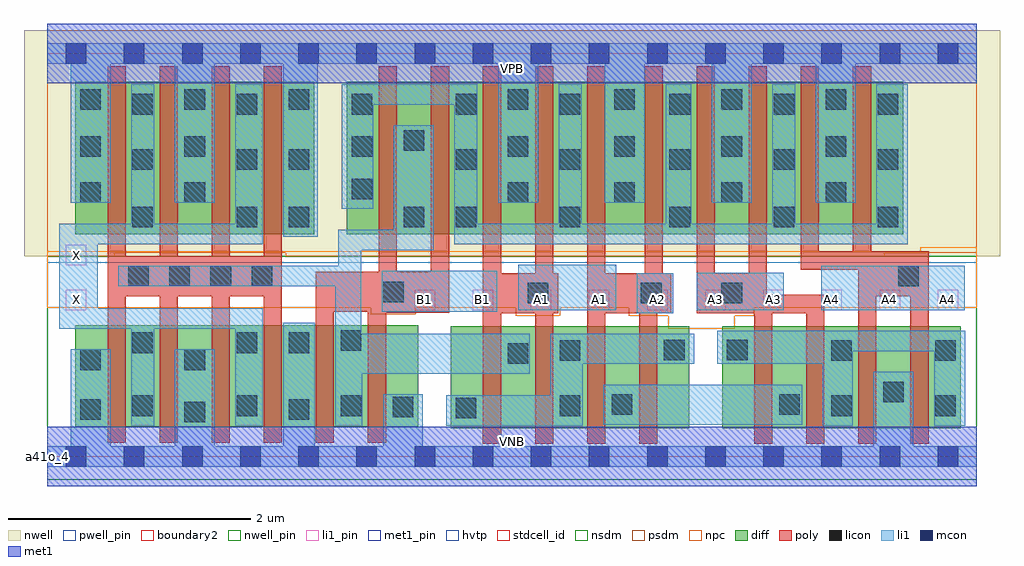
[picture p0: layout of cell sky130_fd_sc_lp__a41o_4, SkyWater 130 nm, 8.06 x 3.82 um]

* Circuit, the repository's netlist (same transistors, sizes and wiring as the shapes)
* Copyright 2020 The SkyWater PDK Authors
*
* Licensed under the Apache License, Version 2.0 (the "License");
* you may not use this file except in compliance with the License.
* You may obtain a copy of the License at
*
*     https://www.apache.org/licenses/LICENSE-2.0
*
* Unless required by applicable law or agreed to in writing, software
* distributed under the License is distributed on an "AS IS" BASIS,
* WITHOUT WARRANTIES OR CONDITIONS OF ANY KIND, either express or implied.
* See the License for the specific language governing permissions and
* limitations under the License.
*
* SPDX-License-Identifier: Apache-2.0

.SUBCKT sky130_fd_sc_lp__a41o_4 A1 A2 A3 A4 B1 VGND VNB VPB VPWR X
*.PININFO A1:I A2:I A3:I A4:I B1:I VGND:I VNB:I VPB:I VPWR:I X:O
MMPA0 pndA A1 VPWR VPB sky130_fd_pr__pfet_01v8_hvt m=2 w=1.26U l=0.15U mult=1 sa=0.265
+ sb=0.265 sd=0.28 area=0.063 perim=1.14
MMPA1 pndA A2 VPWR VPB sky130_fd_pr__pfet_01v8_hvt m=2 w=1.26U l=0.15U mult=1 sa=0.265
+ sb=0.265 sd=0.28 area=0.063 perim=1.14
MMPA2 pndA A3 VPWR VPB sky130_fd_pr__pfet_01v8_hvt m=2 w=1.26U l=0.15U mult=1 sa=0.265
+ sb=0.265 sd=0.28 area=0.063 perim=1.14
MMPA3 pndA A4 VPWR VPB sky130_fd_pr__pfet_01v8_hvt m=2 w=1.26U l=0.15U mult=1 sa=0.265
+ sb=0.265 sd=0.28 area=0.063 perim=1.14
MMPB0 y B1 pndA VPB sky130_fd_pr__pfet_01v8_hvt m=2 w=1.26U l=0.15U mult=1 sa=0.265
+ sb=0.265 sd=0.28 area=0.063 perim=1.14
MMIPX X y VPWR VPB sky130_fd_pr__pfet_01v8_hvt m=4 w=1.26U l=0.15U mult=1 sa=0.265
+ sb=0.265 sd=0.28 area=0.063 perim=1.14
MMNA0 y A1 sndA1 VNB sky130_fd_pr__nfet_01v8 m=2 w=0.84U l=0.15U mult=1 sa=0.265
+ sb=0.265 sd=0.28 area=0.063 perim=1.14
MMNA1 sndA1 A2 sndA2 VNB sky130_fd_pr__nfet_01v8 m=2 w=0.84U l=0.15U mult=1 sa=0.265
+ sb=0.265 sd=0.28 area=0.063 perim=1.14
MMNA2 sndA2 A3 sndA3 VNB sky130_fd_pr__nfet_01v8 m=2 w=0.84U l=0.15U mult=1 sa=0.265
+ sb=0.265 sd=0.28 area=0.063 perim=1.14
MMNA3 sndA3 A4 VGND VNB sky130_fd_pr__nfet_01v8 m=2 w=0.84U l=0.15U mult=1 sa=0.265
+ sb=0.265 sd=0.28 area=0.063 perim=1.14
MMNB0 y B1 VGND VNB sky130_fd_pr__nfet_01v8 m=2 w=0.84U l=0.15U mult=1 sa=0.265
+ sb=0.265 sd=0.28 area=0.063 perim=1.14
MMINX X y VGND VNB sky130_fd_pr__nfet_01v8 m=4 w=0.84U l=0.15U mult=1 sa=0.265
+ sb=0.265 sd=0.28 area=0.063 perim=1.14
.ENDS sky130_fd_sc_lp__a41o_4

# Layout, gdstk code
import gdstk
lib = gdstk.Library(unit=1e-6, precision=1e-09)
def R(c, l, rs):  # rectangles x0, y0, x1, y1
    for r in rs: c.add(gdstk.rectangle(r[:2], r[2:], *l))
def A(c, l, x, y, w, h, nx, ny, dx, dy):  # array of equal rectangles
    R(c, l, [(x+i*dx, y+j*dy, x+i*dx+w, y+j*dy+h) for i in range(nx) for j in range(ny)])
def P(c, l, *ps):  # polygons
    for p in ps: c.add(gdstk.Polygon(p, *l))
nwell_pin = (64, 16)
nwell = (64, 20)
diff = (65, 20)
poly = (66, 20)
licon = (66, 44)
li1_pin = (67, 16)
li1 = (67, 20)
mcon = (67, 44)
met1_pin = (68, 16)
met1 = (68, 20)
hvtp = (78, 44)
stdcell_id = (81, 4)
nsdm = (93, 44)
psdm = (94, 20)
npc = (95, 20)
pwell_pin = (122, 16)
boundary2 = (236, 0)

sky130_fd_sc_lp__a41o_4 = lib.new_cell('sky130_fd_sc_lp__a41o_4')
R(sky130_fd_sc_lp__a41o_4, nwell_pin, [(0,3.085,7.68,3.33)])
R(sky130_fd_sc_lp__a41o_4, nwell, [(-0.19,1.655,7.87,3.52)])
R(sky130_fd_sc_lp__a41o_4, diff, [(3.335,0.235,5.305,1.075), (5.575,0.235,7.545,1.075), (0.235,0.245,3.065,1.085), (0.235,1.835,2.205,3.095), (2.475,1.835,7.07,3.095)])
P(sky130_fd_sc_lp__a41o_4, poly, [(1.94,3.225),(1.79,3.225),(1.79,1.655),(1.51,1.655),(1.51,3.225),(1.36,3.225),(1.36,1.655),(1.08,1.655),(1.08,3.225),(0.93,3.225),(0.93,1.655),(0.65,1.655),(0.65,3.225),(0.5,3.225),(0.5,0.115),(0.65,0.115),(0.65,1.325),(0.93,1.325),(0.93,0.115),(1.08,0.115),(1.08,1.325),(1.36,1.325),(1.36,0.115),(1.51,0.115),(1.51,1.325),(1.79,1.325),(1.79,0.115),(1.94,0.115)],
  [(7.28,1.695),(6.805,1.695),(6.805,3.225),(6.655,3.225),(6.655,1.695),(6.375,1.695),(6.375,3.225),(6.225,3.225),(6.225,1.545),(6.7,1.545),(6.7,0.105),(6.85,0.105),(6.85,1.325),(7.13,1.325),(7.13,0.105),(7.28,0.105)],
  [(3.32,3.225),(3.17,3.225),(3.17,1.525),(2.89,1.525),(2.89,3.225),(2.74,3.225),(2.74,1.525),(2.22,1.525),(2.22,0.115),(2.37,0.115),(2.37,1.195),(2.65,1.195),(2.65,0.115),(2.8,0.115),(2.8,1.19),(3.32,1.19)],
  [(6.42,1.335),(5.945,1.335),(5.945,3.225),(5.795,3.225),(5.795,1.515),(5.515,1.515),(5.515,3.225),(5.365,3.225),(5.365,1.185),(5.84,1.185),(5.84,0.105),(5.99,0.105),(5.99,1.185),(6.27,1.185),(6.27,0.105),(6.42,0.105)],
  [(4.22,1.515),(4.18,1.515),(4.18,3.225),(4.03,3.225),(4.03,1.515),(3.75,1.515),(3.75,3.225),(3.6,3.225),(3.6,0.105),(3.75,0.105),(3.75,1.185),(4.03,1.185),(4.03,0.105),(4.18,0.105),(4.18,1.185),(4.22,1.185)],
  [(5.155,1.515),(5.085,1.515),(5.085,3.225),(4.935,3.225),(4.935,1.515),(4.61,1.515),(4.61,3.225),(4.46,3.225),(4.46,0.105),(4.61,0.105),(4.61,1.185),(4.89,1.185),(4.89,0.105),(5.04,0.105),(5.04,1.185),(5.155,1.185)])
A(sky130_fd_sc_lp__a41o_4, licon, 0.705, 0.335, 0.17, 0.17, 3, 1, 0.86, 0)
A(sky130_fd_sc_lp__a41o_4, licon, 0.67, 1.405, 0.17, 0.17, 4, 1, 0.34, 0)
A(sky130_fd_sc_lp__a41o_4, licon, 5.14, 1.895, 0.17, 0.17, 3, 2, 0.86, 0.475)
A(sky130_fd_sc_lp__a41o_4, licon, 2.515, 2.825, 0.17, 0.17, 3, 1, 0.86, 0)
A(sky130_fd_sc_lp__a41o_4, licon, 5.14, 2.825, 0.17, 0.17, 3, 1, 0.86, 0)
A(sky130_fd_sc_lp__a41o_4, licon, 0.275, 2.865, 0.17, 0.17, 3, 1, 0.86, 0)
R(sky130_fd_sc_lp__a41o_4, licon, [(1.135,0.285,1.305,0.455), (0.275,0.305,0.445,0.475), (1.995,0.305,2.165,0.475), (3.375,0.315,3.545,0.485), (2.855,0.325,3.025,0.495), (4.235,0.335,4.405,0.505), (6.475,0.335,6.645,0.505), (7.335,0.335,7.505,0.505), (4.665,0.345,4.835,0.515), (6.045,0.345,6.215,0.515), (6.905,0.45,7.075,0.62), (0.275,0.715,0.445,0.885), (1.135,0.715,1.305,0.885), (3.805,0.765,3.975,0.935), (4.235,0.79,4.405,0.96), (6.475,0.79,6.645,0.96), (7.335,0.79,7.505,0.96), (5.095,0.795,5.265,0.965), (5.615,0.795,5.785,0.965), (0.705,0.855,0.875,1.025), (1.565,0.855,1.735,1.025), (1.995,0.855,2.165,1.025), (2.425,0.875,2.595,1.045), (3.97,1.265,4.14,1.435), (4.905,1.265,5.075,1.435), (5.57,1.265,5.74,1.435), (2.775,1.275,2.945,1.445), (7.03,1.405,7.2,1.575), (0.705,1.895,0.875,2.065), (1.565,1.895,1.735,2.065), (1.995,1.895,2.165,2.065), (2.945,1.895,3.115,2.065), (3.375,1.895,3.545,2.065), (4.235,1.895,4.405,2.065), (0.275,2.095,0.445,2.265), (1.135,2.095,1.305,2.265), (3.805,2.095,3.975,2.265), (4.685,2.095,4.855,2.265), (5.57,2.095,5.74,2.265), (6.43,2.095,6.6,2.265), (2.515,2.125,2.685,2.295), (0.705,2.37,0.875,2.54), (1.565,2.37,1.735,2.54), (1.995,2.37,2.165,2.54), (3.375,2.37,3.545,2.54), (4.235,2.37,4.405,2.54), (0.275,2.475,0.445,2.645), (1.135,2.475,1.305,2.645), (2.515,2.475,2.685,2.645), (3.805,2.475,3.975,2.645), (4.685,2.475,4.855,2.645), (5.57,2.475,5.74,2.645), (6.43,2.475,6.6,2.645), (2.945,2.525,3.115,2.695), (0.705,2.825,0.875,2.995), (1.565,2.825,1.735,2.995), (3.805,2.865,3.975,3.035), (4.685,2.865,4.855,3.035), (5.57,2.865,5.74,3.035), (6.43,2.865,6.6,3.035)])
A(sky130_fd_sc_lp__a41o_4, li1_pin, 3.035, 1.21, 0.17, 0.17, 10, 1, 0.48, 0)
R(sky130_fd_sc_lp__a41o_4, li1_pin, [(0.155,1.21,0.325,1.38), (0.155,1.58,0.325,1.75)])
R(sky130_fd_sc_lp__a41o_4, li1, [(4.595,0.265,6.235,0.595), (4.87,1.185,5.17,1.515), (2.765,1.195,3.72,1.535), (3.89,1.21,4.7,1.585), (5.365,1.21,6.085,1.52), (6.395,1.21,7.58,1.575)])
P(sky130_fd_sc_lp__a41o_4, li1, [(1.78,1.225),(0.42,1.225),(0.42,1.755),(1.78,1.755),(1.78,3.075),(1.555,3.075),(1.555,1.925),(0.885,1.925),(0.885,3.075),(0.695,3.075),(0.695,1.925),(0.1,1.925),(0.1,1.055),(0.695,1.055),(0.695,0.255),(0.885,0.255),(0.885,1.055),(1.555,1.055),(1.555,0.255),(1.78,0.255)],
  [(3.985,1.015),(2.595,1.015),(2.595,1.705),(3.195,1.705),(3.195,2.735),(2.865,2.735),(2.865,1.875),(2.405,1.875),(2.405,1.575),(0.59,1.575),(0.59,1.405),(2.38,1.405),(2.38,0.255),(2.605,0.255),(2.605,0.685),(3.985,0.685)],
  [(7.68,3.415),(0,3.415),(0,3.245),(0.195,3.245),(0.195,2.095),(0.525,2.095),(0.525,3.245),(1.055,3.245),(1.055,2.095),(1.385,2.095),(1.385,3.245),(1.95,3.245),(1.95,1.815),(2.235,1.815),(2.235,3.245),(3.725,3.245),(3.725,2.095),(4.055,2.095),(4.055,3.245),(4.605,3.245),(4.605,2.095),(4.935,2.095),(4.935,3.245),(5.49,3.245),(5.49,2.095),(5.82,2.095),(5.82,3.245),(6.35,3.245),(6.35,2.095),(6.68,2.095),(6.68,3.245),(7.68,3.245)],
  [(7.585,1.04),(5.535,1.04),(5.535,0.765),(6.405,0.765),(6.405,0.255),(6.655,0.255),(6.655,0.87),(7.325,0.87),(7.325,0.255),(7.585,0.255)],
  [(7.68,0.085),(7.155,0.085),(7.155,0.7),(6.825,0.7),(6.825,0.085),(3.105,0.085),(3.105,0.515),(2.775,0.515),(2.775,0.085),(2.21,0.085),(2.21,1.105),(1.95,1.105),(1.95,0.085),(1.385,0.085),(1.385,0.885),(1.055,0.885),(1.055,0.085),(0.525,0.085),(0.525,0.885),(0.195,0.885),(0.195,0.085),(0,0.085),(0,-0.085),(7.68,-0.085)],
  [(5.345,1.015),(4.155,1.015),(4.155,0.505),(3.295,0.505),(3.295,0.255),(4.425,0.255),(4.425,0.765),(5.345,0.765)],
  [(7.11,3.075),(6.85,3.075),(6.85,1.925),(6.18,1.925),(6.18,3.075),(5.99,3.075),(5.99,1.925),(5.32,1.925),(5.32,3.075),(5.11,3.075),(5.11,1.925),(4.415,1.925),(4.415,3.075),(4.225,3.075),(4.225,1.925),(3.555,1.925),(3.555,3.075),(2.435,3.075),(2.435,2.045),(2.695,2.045),(2.695,2.905),(3.365,2.905),(3.365,1.755),(7.11,1.755)])
A(sky130_fd_sc_lp__a41o_4, mcon, 0.155, -0.085, 0.17, 0.17, 16, 2, 0.48, 3.33)
R(sky130_fd_sc_lp__a41o_4, met1_pin, [(0,0,7.68,0.245), (0,3.085,7.68,3.33)])
R(sky130_fd_sc_lp__a41o_4, met1, [(0,-0.245,7.68,0.245), (0,3.085,7.68,3.575)])
R(sky130_fd_sc_lp__a41o_4, hvtp, [(0,1.6,7.68,3.33)])
R(sky130_fd_sc_lp__a41o_4, stdcell_id, [(0,0,7.68,3.33)])
R(sky130_fd_sc_lp__a41o_4, nsdm, [(0,-0.19,7.68,1.655)])
P(sky130_fd_sc_lp__a41o_4, psdm, [(7.68,3.52),(0,3.52),(0,1.655),(0.56,1.655),(0.56,1.685),(1.97,1.685),(1.97,1.655),(6.92,1.655),(6.92,1.685),(7.68,1.685)])
P(sky130_fd_sc_lp__a41o_4, npc, [(7.68,1.73),(7.21,1.73),(7.21,1.695),(0,1.695),(0,1.23),(2.675,1.23),(2.675,1.175),(3.045,1.175),(3.045,1.23),(3.87,1.23),(3.87,1.165),(4.24,1.165),(4.24,1.23),(4.805,1.23),(4.805,1.165),(5.13,1.165),(5.13,1.055),(5.68,1.055),(5.68,1.165),(5.84,1.165),(5.84,1.23),(7.68,1.23)])
R(sky130_fd_sc_lp__a41o_4, pwell_pin, [(0,0,7.68,0.245)])
R(sky130_fd_sc_lp__a41o_4, boundary2, [(0,0,7.68,3.33)])
sky130_fd_sc_lp__a41o_4.add(gdstk.Label('VNB', (3.84,0.123), layer=64, texttype=59))
sky130_fd_sc_lp__a41o_4.add(gdstk.Label('VPB', (3.84,3.208), layer=64, texttype=5))
sky130_fd_sc_lp__a41o_4.add(gdstk.Label('a41o_4', (0,0), layer=83, texttype=44))
sky130_fd_sc_lp__a41o_4.add(gdstk.Label('VPWR', (3.84,3.208), layer=68, texttype=5))
sky130_fd_sc_lp__a41o_4.add(gdstk.Label('VGND', (3.84,0.123), layer=68, texttype=5))
sky130_fd_sc_lp__a41o_4.add(gdstk.Label('A1', (4.08,1.295), layer=67, texttype=5))
sky130_fd_sc_lp__a41o_4.add(gdstk.Label('A1', (4.56,1.295), layer=67, texttype=5))
sky130_fd_sc_lp__a41o_4.add(gdstk.Label('A2', (5.04,1.295), layer=67, texttype=5))
sky130_fd_sc_lp__a41o_4.add(gdstk.Label('A3', (5.52,1.295), layer=67, texttype=5))
sky130_fd_sc_lp__a41o_4.add(gdstk.Label('A3', (6,1.295), layer=67, texttype=5))
sky130_fd_sc_lp__a41o_4.add(gdstk.Label('A4', (6.48,1.295), layer=67, texttype=5))
sky130_fd_sc_lp__a41o_4.add(gdstk.Label('A4', (6.96,1.295), layer=67, texttype=5))
sky130_fd_sc_lp__a41o_4.add(gdstk.Label('A4', (7.44,1.295), layer=67, texttype=5))
sky130_fd_sc_lp__a41o_4.add(gdstk.Label('B1', (3.12,1.295), layer=67, texttype=5))
sky130_fd_sc_lp__a41o_4.add(gdstk.Label('B1', (3.6,1.295), layer=67, texttype=5))
sky130_fd_sc_lp__a41o_4.add(gdstk.Label('X', (0.24,1.295), layer=67, texttype=5))
sky130_fd_sc_lp__a41o_4.add(gdstk.Label('X', (0.24,1.665), layer=67, texttype=5))

lib.write_gds('sky130_fd_sc_lp__a41o_4.gds')
